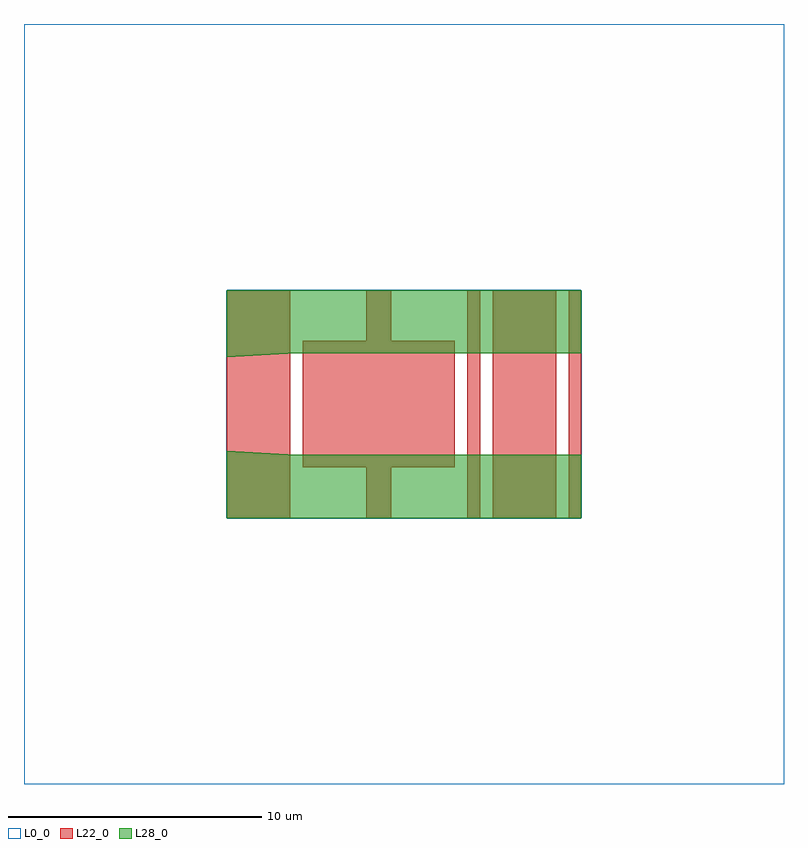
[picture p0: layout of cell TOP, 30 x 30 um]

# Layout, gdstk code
import gdstk
lib = gdstk.Library(unit=1e-6, precision=1e-09)
def R(c, l, rs):  # rectangles x0, y0, x1, y1
    for r in rs: c.add(gdstk.rectangle(r[:2], r[2:], *l))
def P(c, l, *ps):  # polygons
    for p in ps: c.add(gdstk.Polygon(p, *l))
L0_0 = (0, 0)
L22_0 = (22, 0)
L28_0 = (28, 0)

top = lib.new_cell('TOP')
P(top, L0_0, [(-15,-15),(-15,4.5),(-7,4.5),(-7,-4.5),(7,-4.5),(7,4.5),(-15,4.5),(-15,15),(15,15),(15,-15)])
R(top, L22_0, [(-7,-4.5,-4.5,4.5), (-1.5,-4.5,-0.5,-2.5), (2.5,-4.5,3,4.5), (3.5,-4.5,6,4.5), (6.5,-4.5,7,4.5), (-4,-2.5,2,2.5), (-1.5,2.5,-0.5,4.5)])
R(top, L28_0, [(-4.25,-4.5,7,-2), (-4.25,2,7,4.5)])
P(top, L28_0, [(-7,-4.5),(-7,-1.847),(-4.25,-2),(-4.25,-4.5)],
  [(-7,1.847),(-7,4.5),(-4.25,4.5),(-4.25,2)])

lib.write_gds('TOP.gds')
